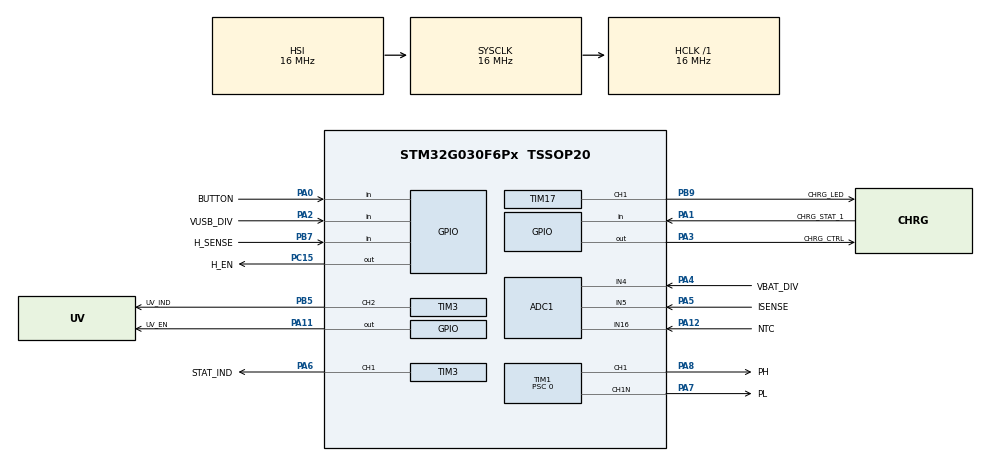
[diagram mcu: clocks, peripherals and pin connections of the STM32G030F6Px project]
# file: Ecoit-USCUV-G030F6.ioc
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ADC1.ContinuousConvMode=DISABLE
ADC1.DMAContinuousRequests=DISABLE
ADC1.DiscontinuousConvMode=ENABLE
ADC1.EOCSelection=ADC_EOC_SEQ_CONV
ADC1.NbrOfConversion=1
ADC1.NbrOfConversionFlag=0
ADC1.Overrun=ADC_OVR_DATA_OVERWRITTEN
ADC1.SamplingTimeCommon1=ADC_SAMPLETIME_39CYCLES_5
ADC1.SelectedChannel=ADC_CHANNEL_4|ADC_CHANNEL_5|ADC_CHANNEL_TEMPSENSOR|ADC_CHANNEL_VREFINT|ADC_CHANNEL_16
ADC1.Sequencer=NOT_FULLY_CONFIGURABLE
ADC1.TriggerFrequencyMode=ADC_TRIGGER_FREQ_HIGH
ADC1.master=1
Dma.ADC1.0.Direction=DMA_PERIPH_TO_MEMORY
Dma.ADC1.0.EventEnable=DISABLE
Dma.ADC1.0.Instance=DMA1_Channel1
Dma.ADC1.0.MemDataAlignment=DMA_MDATAALIGN_HALFWORD
Dma.ADC1.0.MemInc=DMA_MINC_ENABLE
Dma.ADC1.0.Mode=DMA_NORMAL
Dma.ADC1.0.PeriphDataAlignment=DMA_PDATAALIGN_HALFWORD
Dma.ADC1.0.PeriphInc=DMA_PINC_DISABLE
Dma.ADC1.0.Polarity=HAL_DMAMUX_REQ_GEN_RISING
Dma.ADC1.0.Priority=DMA_PRIORITY_LOW
Dma.ADC1.0.RequestNumber=1
Dma.ADC1.0.SignalID=NONE
Dma.ADC1.0.SyncEnable=DISABLE
Dma.ADC1.0.SyncPolarity=HAL_DMAMUX_SYNC_NO_EVENT
Dma.ADC1.0.SyncRequestNumber=1
Dma.ADC1.0.SyncSignalID=NONE
Dma.Request0=ADC1
Mcu.Family=STM32G0
Mcu.Name=STM32G030F6Px
Mcu.Package=TSSOP20
Mcu.UserConstants=PRELOAD_VALUE,400
NVIC.DMA1_Channel1_IRQn=true\:0\:0\:false\:false\:true\:false\:true\:true
NVIC.TIM14_IRQn=true\:0\:0\:false\:false\:true\:true\:true\:true
PA0.GPIO_Label=BUTTON
PA0.GPIO_PuPd=GPIO_PULLDOWN
PA0.Signal=GPIO_Input
PA1.GPIO_Label=CHRG_STAT_1
PA1.GPIO_PuPd=GPIO_NOPULL
PA1.Signal=GPIO_Input
PA11\ [PA9].GPIO_Label=UV_EN
PA11\ [PA9].Signal=GPIO_Output
PA12\ [PA10].GPIO_Label=NTC
PA12\ [PA10].Mode=IN16
PA12\ [PA10].Signal=ADC1_IN16
PA13.Mode=Serial_Wire
PA13.Signal=SYS_SWDIO
PA14-BOOT0.Mode=Serial_Wire
PA14-BOOT0.Signal=SYS_SWCLK
PA14-BOOT0__PA15.StandardMode=true
PA2.GPIO_Label=VUSB_DIV
PA2.Signal=GPIO_Input
PA3.GPIO_Label=CHRG_CTRL
PA3.GPIO_ModeDefaultOutputPP=GPIO_MODE_OUTPUT_OD
PA3.GPIO_PuPd=GPIO_NOPULL
PA3.PinState=GPIO_PIN_SET
PA3.Signal=GPIO_Output
PA4.GPIO_Label=VBAT_DIV
PA4.Mode=IN4
PA4.Signal=ADC1_IN4
PA5.GPIO_Label=ISENSE
PA5.Mode=IN5
PA5.Signal=ADC1_IN5
PA6.GPIO_Label=STAT_IND
PA6.Signal=S_TIM3_CH1
PA7.GPIO_Label=PL
PA7.Mode=PWM Generation1 CH1 CH1N
PA7.Signal=TIM1_CH1N
PA8.GPIO_Label=PH
PA8.Signal=S_TIM1_CH1
PB0__PB1__PB2__PA8.StandardMode=true
PB3__PB4__PB5__PB6.StandardMode=true
PB5.GPIO_Label=UV_IND
PB5.Signal=S_TIM3_CH2
PB7.GPIO_Label=H_SENSE
PB7.GPIO_PuPd=GPIO_PULLDOWN
PB7.Signal=GPIO_Input
PB7__PB8.StandardMode=true
PB9.GPIO_Label=CHRG_LED
PB9.Signal=S_TIM17_CH1
PC14-OSC32_IN\ (PC14)__PB9.StandardMode=true
PC15-OSC32_OUT\ (PC15).GPIO_Label=H_EN
PC15-OSC32_OUT\ (PC15).Signal=GPIO_Output
ProjectManager.HeapSize=0x200
ProjectManager.StackSize=0x400
ProjectManager.TargetToolchain=STM32CubeIDE
RCC.AHBFreq_Value=16000000
RCC.CortexFreq_Value=16000000
RCC.EXTERNAL_CLOCK_VALUE=12288000
RCC.HCLKFreq_Value=16000000
RCC.HSE_VALUE=8000000
RCC.HSI_VALUE=16000000
RCC.LSE_VALUE=32768
RCC.SYSCLKFreq_VALUE=16000000
RCC.VCOOutputFreq_Value=128000000
SH.S_TIM17_CH1.0=TIM17_CH1,PWM Generation1 CH1
SH.S_TIM1_CH1.0=TIM1_CH1,PWM Generation1 CH1 CH1N
SH.S_TIM3_CH1.0=TIM3_CH1,PWM Generation1 CH1
SH.S_TIM3_CH2.0=TIM3_CH2,PWM Generation2 CH2
TIM1.Channel-PWM\ Generation1\ CH1\ CH1N=TIM_CHANNEL_1
TIM1.DeadTime=1
TIM1.OCIdleState_1=TIM_OCIDLESTATE_RESET
TIM1.OCNIdleState_1=TIM_OCNIDLESTATE_RESET
TIM1.OCNPolarity_1=TIM_OCNPOLARITY_HIGH
TIM1.OCPolarity_1=TIM_OCPOLARITY_HIGH
TIM1.OffStateIDLEMode=TIM_OSSI_DISABLE
TIM1.OffStateRunMode=TIM_OSSR_DISABLE
TIM1.Period=PRELOAD_VALUE - 1
TIM1.Prescaler=0
TIM1.Pulse-PWM\ Generation1\ CH1\ CH1N=(PRELOAD_VALUE / 2) - 1
TIM14.Period=10000 - 1
TIM14.Prescaler=16-1
TIM17.Channel=TIM_CHANNEL_1
TIM17.Period=1000-1
TIM3.Channel-PWM\ Generation1\ CH1=TIM_CHANNEL_1
TIM3.Channel-PWM\ Generation2\ CH2=TIM_CHANNEL_2
TIM3.OCPolarity_2=TIM_OCPOLARITY_LOW
TIM3.Period=1000-1
VP_ADC1_TempSens_Input.Mode=IN-TempSens
VP_ADC1_Vref_Input.Mode=IN-Vrefint
VP_TIM14_VS_ClockSourceINT.Mode=Enable_Timer
VP_TIM17_VS_ClockSourceINT.Mode=Enable_Timer
VP_TIM1_VS_ClockSourceINT.Mode=Internal
VP_TIM3_VS_ClockSourceINT.Mode=Internal
board=custom

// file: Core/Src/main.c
/* USER CODE BEGIN Header */
/**
  ******************************************************************************
  * @file           : main.c
  * @brief          : Main program body
  ******************************************************************************
  * @attention
  *
  * Copyright (c) 2023 STMicroelectronics.
  * All rights reserved.
  *
  * This software is licensed under terms that can be found in the LICENSE file
  * in the root directory of this software component.
  * If no LICENSE file comes with this software, it is provided AS-IS.
  *
  ******************************************************************************
  */
/* USER CODE END Header */
#include "main.h"
#include "adc.h"
#include "dma.h"
#include "tim.h"
#include "gpio.h"

/* USER CODE BEGIN Includes */
#include "task.h"
#include "acio_driver.h"
/* USER CODE END Includes */

/* USER CODE BEGIN PV */
volatile GPIO_PinState b;
extern uint8_t acio_init_flag;

extern ADC_HandleTypeDef hadc1;

volatile uint16_t adc_values[5];
volatile float adc_voltages[5];
volatile float temperature;
/* USER CODE END PV */

void SystemClock_Config(void);
/* USER CODE BEGIN PFP */
void Tick_Update();
extern void ACIO_Update();
/* USER CODE END PFP */

int main(void)
{

  /* MCU Configuration--------------------------------------------------------*/

  /* Reset of all peripherals, Initializes the Flash interface and the Systick. */
  HAL_Init();

  /* USER CODE BEGIN Init */
	__HAL_PWR_CLEAR_FLAG(PWR_FLAG_SB);
	HAL_PWR_DisableWakeUpPin(PWR_WAKEUP_PIN1);
	HAL_PWR_DisableWakeUpPin(PWR_WAKEUP_PIN4);
  /* USER CODE END Init */

  /* Configure the system clock */
  SystemClock_Config();

  /* Initialize all configured peripherals */
  MX_GPIO_Init();
  MX_DMA_Init();
  MX_ADC1_Init();
  MX_TIM1_Init();
  MX_TIM3_Init();
  MX_TIM17_Init();
  MX_TIM14_Init();
  /* USER CODE BEGIN 2 */
//  HAL_TIM_PWM_Start(&htim1, TIM_CHANNEL_1);
//  HAL_TIMEx_PWMN_Start(&htim1, TIM_CHANNEL_2);
  HAL_TIM_PWM_Start(&htim3, TIM_CHANNEL_1);
  HAL_TIM_PWM_Start(&htim3, TIM_CHANNEL_2);
  HAL_TIM_PWM_Start(&htim17, TIM_CHANNEL_1);
  HAL_TIM_Base_Start_IT(&htim14);
  __HAL_TIM_MOE_ENABLE(&htim1);

  HAL_ADCEx_Calibration_Start(&hadc1);
  Set_Hall_Power(1);
  ACIO_Init();

  /* USER CODE END 2 */

  /* Infinite loop */
  while (1)
  {

  }
}

void SystemClock_Config(void)
{
  RCC_OscInitTypeDef RCC_OscInitStruct = {0};
  RCC_ClkInitTypeDef RCC_ClkInitStruct = {0};

  /** Configure the main internal regulator output voltage
  */
  HAL_PWREx_ControlVoltageScaling(PWR_REGULATOR_VOLTAGE_SCALE1);

  /** Initializes the RCC Oscillators according to the specified parameters
  * in the RCC_OscInitTypeDef structure.
  */
  RCC_OscInitStruct.OscillatorType = RCC_OSCILLATORTYPE_HSI;
  RCC_OscInitStruct.HSIState = RCC_HSI_ON;
  RCC_OscInitStruct.HSIDiv = RCC_HSI_DIV1;
  RCC_OscInitStruct.HSICalibrationValue = RCC_HSICALIBRATION_DEFAULT;
  RCC_OscInitStruct.PLL.PLLState = RCC_PLL_NONE;
  if (HAL_RCC_OscConfig(&RCC_OscInitStruct) != HAL_OK)
  {
    Error_Handler();
  }

  /** Initializes the CPU, AHB and APB buses clocks
  */
  RCC_ClkInitStruct.ClockType = RCC_CLOCKTYPE_HCLK|RCC_CLOCKTYPE_SYSCLK
                              |RCC_CLOCKTYPE_PCLK1;
  RCC_ClkInitStruct.SYSCLKSource = RCC_SYSCLKSOURCE_HSI;
  RCC_ClkInitStruct.AHBCLKDivider = RCC_SYSCLK_DIV1;
  RCC_ClkInitStruct.APB1CLKDivider = RCC_HCLK_DIV1;

  if (HAL_RCC_ClockConfig(&RCC_ClkInitStruct, FLASH_LATENCY_0) != HAL_OK)
  {
    Error_Handler();
  }
}

/* USER CODE BEGIN 4 */
void Tick_Update() {
	if(acio_init_flag) {
		Read_Inputs();
		ACIO_Update();
		Task_Charger();
		Task_Cleaner();
		Task_Power();
		HAL_ADC_Start_DMA(&hadc1, (uint32_t *)adc_values, 5);
//		Task_Freq_Changer();
	}
}

void HAL_TIM_PeriodElapsedCallback(TIM_HandleTypeDef *htim) {
	if(htim->Instance == TIM14) {
		Task_Freq_Changer();
	}
}

void HAL_ADC_ConvCpltCallback(ADC_HandleTypeDef *hadc) {
	adc_voltages[ADC_VAL_IDX_VREF] = VREFINT_CAL_VREF / 1000.0 * (*VREFINT_CAL_ADDR) / adc_values[ADC_VAL_IDX_VREF];
	adc_voltages[ADC_VAL_IDX_TEMP] = adc_voltages[ADC_VAL_IDX_VREF] * adc_values[ADC_VAL_IDX_TEMP] / 4096;
	adc_voltages[ADC_VAL_IDX_VBAT_DIV] = adc_voltages[ADC_VAL_IDX_VREF] * adc_values[ADC_VAL_IDX_VBAT_DIV] / 4096 * 2;
	adc_voltages[ADC_VAL_IDX_ISENSE] = adc_voltages[ADC_VAL_IDX_VREF] * adc_values[ADC_VAL_IDX_ISENSE] / 4096;
	adc_voltages[ADC_VAL_IDX_NTC] = adc_voltages[ADC_VAL_IDX_VREF] * adc_values[ADC_VAL_IDX_NTC] / 4096;

	temperature = (adc_voltages[ADC_VAL_IDX_TEMP] - 0.76) / 0.0025 + 30.0;
}
/* USER CODE END 4 */

void Error_Handler(void)
{
  __disable_irq();
  while (1)
  {
  }
}
